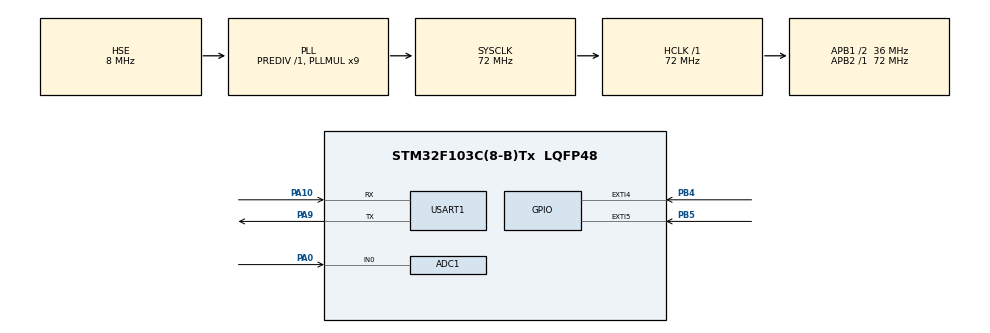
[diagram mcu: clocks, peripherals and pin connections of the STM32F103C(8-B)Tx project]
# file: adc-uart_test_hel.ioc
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ADC1.Channel-1\#ChannelRegularConversion=ADC_CHANNEL_0
ADC1.EnableAnalogWatchDog=false
ADC1.ExternalTrigConv=ADC_EXTERNALTRIGCONV_T3_TRGO
ADC1.NbrOfConversionFlag=1
ADC1.Rank-1\#ChannelRegularConversion=1
ADC1.SamplingTime-1\#ChannelRegularConversion=ADC_SAMPLETIME_55CYCLES_5
ADC1.master=1
Dma.ADC1.0.Direction=DMA_PERIPH_TO_MEMORY
Dma.ADC1.0.Instance=DMA1_Channel1
Dma.ADC1.0.MemDataAlignment=DMA_MDATAALIGN_HALFWORD
Dma.ADC1.0.MemInc=DMA_MINC_ENABLE
Dma.ADC1.0.Mode=DMA_CIRCULAR
Dma.ADC1.0.PeriphDataAlignment=DMA_PDATAALIGN_HALFWORD
Dma.ADC1.0.PeriphInc=DMA_PINC_DISABLE
Dma.ADC1.0.Priority=DMA_PRIORITY_LOW
Dma.Request0=ADC1
Mcu.Family=STM32F1
Mcu.Name=STM32F103C(8-B)Tx
Mcu.Package=LQFP48
NVIC.EXTI4_IRQn=true\:5\:0\:true\:false\:true\:true\:true
NVIC.EXTI9_5_IRQn=true\:5\:0\:true\:false\:true\:true\:true
NVIC.PriorityGroup=NVIC_PRIORITYGROUP_4
PA0-WKUP.Signal=ADCx_IN0
PA10.Mode=Asynchronous
PA10.Signal=USART1_RX
PA13.Mode=Serial_Wire
PA13.Signal=SYS_JTMS-SWDIO
PA14.Mode=Serial_Wire
PA14.Signal=SYS_JTCK-SWCLK
PA9.Mode=Asynchronous
PA9.Signal=USART1_TX
PB4.GPIO_ModeDefaultEXTI=GPIO_MODE_IT_RISING
PB4.GPIO_PuPd=GPIO_PULLDOWN
PB4.Signal=GPXTI4
PB5.GPIO_ModeDefaultEXTI=GPIO_MODE_IT_FALLING
PB5.GPIO_PuPd=GPIO_PULLUP
PB5.Signal=GPXTI5
PD0-OSC_IN.Mode=HSE-External-Oscillator
PD0-OSC_IN.Signal=RCC_OSC_IN
PD1-OSC_OUT.Mode=HSE-External-Oscillator
PD1-OSC_OUT.Signal=RCC_OSC_OUT
ProjectManager.HeapSize=0x200
ProjectManager.StackSize=0x400
ProjectManager.TargetToolchain=MDK-ARM V5.27
RCC.ADCPresc=RCC_ADCPCLK2_DIV6
RCC.AHBFreq_Value=72000000
RCC.APB1CLKDivider=RCC_HCLK_DIV2
RCC.APB1Freq_Value=36000000
RCC.APB1TimFreq_Value=72000000
RCC.APB2Freq_Value=72000000
RCC.APB2TimFreq_Value=72000000
RCC.HCLKFreq_Value=72000000
RCC.PLLMUL=RCC_PLL_MUL9
RCC.PLLSourceVirtual=RCC_PLLSOURCE_HSE
RCC.SYSCLKFreq_VALUE=72000000
RCC.SYSCLKSource=RCC_SYSCLKSOURCE_PLLCLK
RCC.USBFreq_Value=72000000
SH.ADCx_IN0.0=ADC1_IN0,IN0
TIM3.Period=10
TIM3.Prescaler=71
TIM3.TIM_MasterOutputTrigger=TIM_TRGO_UPDATE
USART1.VirtualMode=VM_ASYNC
VP_TIM3_VS_ClockSourceINT.Mode=Internal
board=custom

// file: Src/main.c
/* USER CODE BEGIN Header */
/**
  ******************************************************************************
  * @file           : main.c
  * @brief          : Main program body
  ******************************************************************************
  * @attention
  *
  * <h2><center>&copy; Copyright (c) 2020 STMicroelectronics.
  * All rights reserved.</center></h2>
  *
  * This software component is licensed by ST under BSD 3-Clause license,
  * the "License"; You may not use this file except in compliance with the
  * License. You may obtain a copy of the License at:
  *                        opensource.org/licenses/BSD-3-Clause
  *
  ******************************************************************************
  */
/* USER CODE END Header */

#include "main.h"
#include "adc.h"
#include "dma.h"
#include "tim.h"
#include "usart.h"
#include "gpio.h"

/* USER CODE BEGIN Includes */

#include "menu_GUI.h"
#include "lcd.h"
#include "gui.h"
#include "stdio.h"
#define RXBUFFERSIZE  256
char RxBuffer[RXBUFFERSIZE];

extern DMA_HandleTypeDef hdma_adc1;
extern DMA_HandleTypeDef hdma_usart1_tx;
extern TIM_HandleTypeDef htim3;
int fputc(int ch, FILE *f)
{

  HAL_UART_Transmit(&huart1, (uint8_t *)&ch, 1, 0xffff);

  return ch;
}

int fgetc(FILE *f)
{
  uint8_t ch = 0;

  HAL_UART_Receive(&huart1, &ch, 1, 0xffff);

  return ch;
}
/* USER CODE END Includes */

void SystemClock_Config(void);

/* USER CODE BEGIN 0 */
uint16_t DataBuffer[STORAGE];
int value;
int rateUP=0;
int rateDOWN=0;
int r = RATE;
extern int j;
/* USER CODE END 0 */

int main(void)
{
  /* USER CODE BEGIN 1 */

	uint32_t ex_value;

	uint16_t buff[1];
  /* USER CODE END 1 */

  /* MCU Configuration--------------------------------------------------------*/

  /* Reset of all peripherals, Initializes the Flash interface and the Systick. */
  HAL_Init();

  /* Configure the system clock */
  SystemClock_Config();

  /* USER CODE BEGIN SysInit */
//	int i;
//	for (i=0; i<10;i++)
//	SendBuffer[i] = i+'0';

  /* USER CODE END SysInit */

  /* Initialize all configured peripherals */
  MX_GPIO_Init();
  MX_DMA_Init();
  MX_ADC1_Init();
  MX_USART1_UART_Init();
  MX_TIM3_Init();
  /* USER CODE BEGIN 2 */
	HAL_ADC_Start(&hadc1);
	HAL_TIM_Base_Start(&htim3);
	HAL_DMA_Start(&hdma_adc1,(uint32_t)ADC1_BASE+0X4C,(uint32_t)DataBuffer,STORAGE);
	HAL_ADC_Start_DMA(&hadc1,(uint32_t*)buff,sizeof(buff));
	LCD_Init();	   				//液晶屏初始化
	LCD_Clear(WHITE); 		//清屏
	PlotInterface();
	LCD_ShowNum(TIMEBASE_X,TIMEBASE_Y,20,3,12);
	Show_Str(110,TIMEBASE_Y-4,BLACK,WHITE,"ms",2,1);
  /* USER CODE END 2 */

  /* Infinite loop */
  /* USER CODE BEGIN WHILE */
  while (1)
  {
		if((DMA1->ISR & 0x2) !=0 )
		{
			HAL_ADC_Stop_DMA(&hadc1);
			DataProcess();
			if(j == 0)
			{
				gui_circle(120,6,RED,3,1);
				HAL_DMA_Start(&hdma_adc1,(uint32_t)ADC1_BASE+0X4C,(uint32_t)DataBuffer,STORAGE);
				HAL_ADC_Start_DMA(&hadc1,(uint32_t*)buff,sizeof(buff));
			}
			else
			{
				ShowOnScreen();
				MX_ADC1_Init();
				HAL_DMA_Start(&hdma_adc1,(uint32_t)ADC1_BASE+0X4C,(uint32_t)DataBuffer,STORAGE);
				HAL_ADC_Start_DMA(&hadc1,(uint32_t*)buff,sizeof(buff));
				j=0;
			}

    /* USER CODE END WHILE */

    /* USER CODE BEGIN 3 */
		}
		if(rateUP!=0)
		{
			HAL_ADC_Stop_DMA(&hadc1);
			SetCollectRate(r);
			HAL_DMA_Start(&hdma_adc1,(uint32_t)ADC1_BASE+0X4C,(uint32_t)DataBuffer,STORAGE);
			HAL_ADC_Start_DMA(&hadc1,(uint32_t*)buff,sizeof(buff));
			rateUP = 0;
		}
		if(rateDOWN!=0)
		{
			HAL_ADC_Stop_DMA(&hadc1);
			SetCollectRate(r);
			rateDOWN = 0;
			HAL_DMA_Start(&hdma_adc1,(uint32_t)ADC1_BASE+0X4C,(uint32_t)DataBuffer,STORAGE);
			HAL_ADC_Start_DMA(&hadc1,(uint32_t*)buff,sizeof(buff));

		}
	}

  /* USER CODE END 3 */
}

void SystemClock_Config(void)
{
  RCC_OscInitTypeDef RCC_OscInitStruct = {0};
  RCC_ClkInitTypeDef RCC_ClkInitStruct = {0};
  RCC_PeriphCLKInitTypeDef PeriphClkInit = {0};

  /** Initializes the CPU, AHB and APB busses clocks
  */
  RCC_OscInitStruct.OscillatorType = RCC_OSCILLATORTYPE_HSE;
  RCC_OscInitStruct.HSEState = RCC_HSE_ON;
  RCC_OscInitStruct.HSEPredivValue = RCC_HSE_PREDIV_DIV1;
  RCC_OscInitStruct.HSIState = RCC_HSI_ON;
  RCC_OscInitStruct.PLL.PLLState = RCC_PLL_ON;
  RCC_OscInitStruct.PLL.PLLSource = RCC_PLLSOURCE_HSE;
  RCC_OscInitStruct.PLL.PLLMUL = RCC_PLL_MUL9;
  if (HAL_RCC_OscConfig(&RCC_OscInitStruct) != HAL_OK)
  {
    Error_Handler();
  }
  /** Initializes the CPU, AHB and APB busses clocks
  */
  RCC_ClkInitStruct.ClockType = RCC_CLOCKTYPE_HCLK|RCC_CLOCKTYPE_SYSCLK
                              |RCC_CLOCKTYPE_PCLK1|RCC_CLOCKTYPE_PCLK2;
  RCC_ClkInitStruct.SYSCLKSource = RCC_SYSCLKSOURCE_PLLCLK;
  RCC_ClkInitStruct.AHBCLKDivider = RCC_SYSCLK_DIV1;
  RCC_ClkInitStruct.APB1CLKDivider = RCC_HCLK_DIV2;
  RCC_ClkInitStruct.APB2CLKDivider = RCC_HCLK_DIV1;

  if (HAL_RCC_ClockConfig(&RCC_ClkInitStruct, FLASH_LATENCY_2) != HAL_OK)
  {
    Error_Handler();
  }
  PeriphClkInit.PeriphClockSelection = RCC_PERIPHCLK_ADC;
  PeriphClkInit.AdcClockSelection = RCC_ADCPCLK2_DIV6;
  if (HAL_RCCEx_PeriphCLKConfig(&PeriphClkInit) != HAL_OK)
  {
    Error_Handler();
  }
}

/* USER CODE BEGIN 4 */
//按键中断
//采样率
void HAL_GPIO_EXTI_Callback(uint16_t GPIO_Pin)
{
	HAL_Delay(180);
	__HAL_GPIO_EXTI_CLEAR_IT(GPIO_Pin);	//中断标志位清除在此位置,是为了按键消抖
	if(GPIO_Pin == GPIO_PIN_5)
	{
		rateUP = 1;
		r += 1;
		if(r>11)
			r = 11;
	}

	if(GPIO_Pin == GPIO_PIN_4)
	{
//		HAL_Delay(200);
		rateDOWN = 1;
		r -= 1;
		if(r < 0)
			r = 0;
	}
}

/* USER CODE END 4 */

void Error_Handler(void)
{
}

/************************ (C) COPYRIGHT STMicroelectronics *****END OF FILE****/
